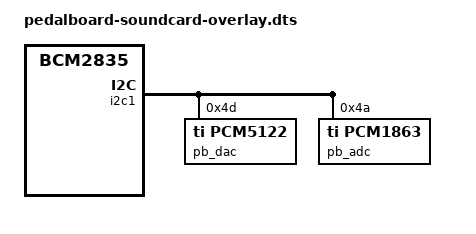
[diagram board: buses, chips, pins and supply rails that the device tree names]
// Pedalboard Soundcard Device Tree Overlay
// PCM1863 ADC + PCM5242 DAC on I2S/I2C
//
// Uses the existing hifiberry-dacplusadcpro kernel driver (same chip family,
// same I2S topology). The compatible string must match the kernel driver's
// of_match_table — this is standard practice for compatible hardware.
// The EEPROM product name identifies the board as "pedalboard-soundcard".
/dts-v1/;
/plugin/;

/ {
	compatible = "brcm,bcm2835";

	fragment@0 {
		target-path = "/";
		__overlay__ {
			pedalboard_osc: pedalboard_osc {
				compatible = "hifiberry,dacpro-clk";
				#clock-cells = <0>;
			};
		};
	};

	frag1: fragment@1 {
		target = <&i2s_clk_consumer>;
		__overlay__ {
			status = "okay";
		};
	};

	fragment@2 {
		target = <&i2c1>;
		__overlay__ {
			#address-cells = <1>;
			#size-cells = <0>;
			status = "okay";

			pb_dac: pcm5242@4d {
				#sound-dai-cells = <0>;
				compatible = "ti,pcm5122";
				reg = <0x4d>;
				clocks = <&pedalboard_osc>;
				status = "okay";
			};
			pb_adc: pcm1863@4a {
				#sound-dai-cells = <0>;
				compatible = "ti,pcm1863";
				reg = <0x4a>;
				clocks = <&pedalboard_osc>;
				status = "okay";
			};
		};
	};

	fragment@3 {
		target = <&sound>;
		pedalboard_soundcard: __overlay__ {
			compatible = "hifiberry,hifiberry-dacplusadcpro";
			audio-codec = <&pb_dac &pb_adc>;
			i2s-controller = <&i2s_clk_consumer>;
			status = "okay";
		};
	};

	__overrides__ {
		24db_digital_gain =
			<&pedalboard_soundcard>,"hifiberry-dacplusadcpro,24db_digital_gain?";
		slave = <&pedalboard_soundcard>,"hifiberry-dacplusadcpro,slave?",
			<&frag1>,"target:0=",<&i2s_clk_producer>,
			<&pedalboard_soundcard>,"i2s-controller:0=",<&i2s_clk_producer>;
	};
};
